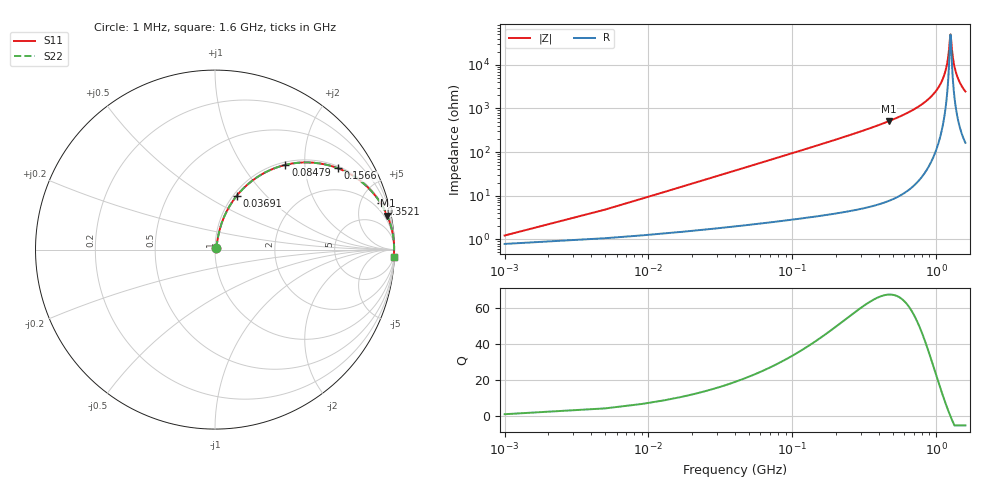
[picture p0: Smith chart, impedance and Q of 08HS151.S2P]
! Coilcraft 0805HS-151 Chip Inductor
! 13 June 2002
# MHZ S MA R 50
!Freq  MagS11  AngS11  MagS21  AngS21  MagS12  AngS12  MagS22  AngS22
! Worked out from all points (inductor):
!   402 points, 1 MHz to 1.6 GHz, reference 50 ohm
!   read as one part in series: L = 149 nH near 8.98 MHz
!   highest Q = 67.2 at 467.8 MHz (marker M1), where L = 173 nH
!   self-resonance near 1.258 GHz
!   S11 on the Smith chart (normalised r, x): 1 MHz: 1.02, +0.02; 36.91 MHz: 1.04, +0.69; 84.79 MHz: 1.05, +1.59; 156.6 MHz: 1.07, +2.98; 352.1 MHz: 1.11, +7.15; 1.6 GHz: 4, -49
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1  0.01211 49.6  0.9922 -0.5  0.9922 -0.5  0.01211 49.6
12.97  0.1197 76.8  0.9795 -6.8  0.9795 -6.8  0.1197 76.8
16.96  0.1553 75.8  0.9736 -8.9  0.9736 -8.9  0.1553 75.8
36.91  0.3218 68.1  0.9291 -18.7  0.9291 -18.7  0.3218 68.1
56.86  0.4629 60.0  0.8671 -27.5  0.8671 -27.5  0.4629 60.0
84.79  0.6139 50.3  0.7694 -37.8  0.7694 -37.8  0.6139 50.3
156.61  0.8215 33.5  0.5515 -55.2  0.5515 -55.2  0.8215 33.5
268.33  0.9294 20.7  0.3532 -68.3  0.3532 -68.3  0.9294 20.7
352.12  0.9591 15.6  0.2682 -73.5  0.2682 -73.5  0.9591 15.6
467.83  0.9784 11.1  0.1926 -78.0  0.1926 -78.0  0.9784 11.1
535.66  0.9846 9.3  0.1609 -79.9  0.1609 -79.9  0.9846 9.3
802.99  0.9952 4.5  0.07867 -84.2  0.07867 -84.2  0.9952 4.5
1070.32  0.9979 1.6  0.02784 -84.8  0.02784 -84.8  0.9979 1.6
1138.15  0.998 1.0  0.01741 -83.0  0.01741 -83.0  0.998 1.0
1186.03  0.9981 0.6  0.01049 -79.0  0.01049 -79.0  0.9981 0.6
1217.95  0.998 0.3  0.006138 -71.3  0.006138 -71.3  0.998 0.3
1257.85  0.998 0.0  0.002031 -10.6  0.002031 -10.6  0.998 0.0
1265.83  0.998 -0.0  0.002126 19.1  0.002126 19.1  0.998 -0.0
1301.74  0.9979 -0.3  0.005807 68.8  0.005807 68.8  0.9979 -0.3
1333.66  0.9978 -0.5  0.009758 76.9  0.009758 76.9  0.9978 -0.5
1433.41  0.9974 -1.2  0.02188 82.7  0.02188 82.7  0.9974 -1.2
1600  0.9965 -2.3  0.04071 83.9  0.04071 83.9  0.9965 -2.3
